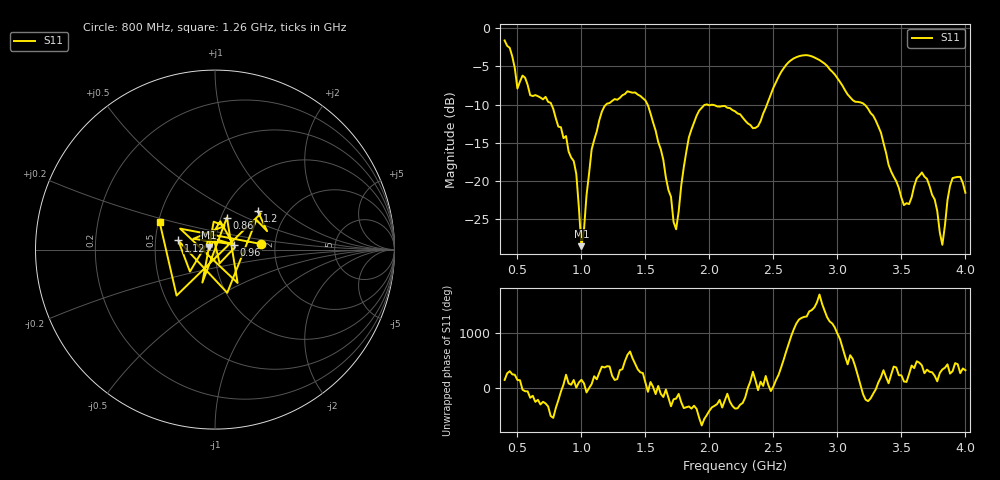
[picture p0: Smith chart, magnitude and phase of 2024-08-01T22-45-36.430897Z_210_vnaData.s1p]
!Created with skrf (http://scikit-rf.org).
# Hz S RI R 50.0
!freq ReS11 ImS11
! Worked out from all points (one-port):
!   181 points, 400 MHz to 4 GHz, reference 50 ohm
!   lowest |S11| = -28.6 dB at 1 GHz (marker M1), VSWR 1.08, Z = 46.7 + j1.36 ohm
!   |S11| at or under -10 dB: 1.517 GHz to 1.975 GHz (458.2 MHz wide, 26.2 % of centre); 1.983 GHz to 2.45 GHz (466.6 MHz wide, 21.1 % of centre); 3.211 GHz to end of sweep (the widest 3 of 4)
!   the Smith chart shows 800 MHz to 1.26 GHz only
!   S11 on the Smith chart (normalised r, x): 800 MHz: 1.68, +0.11; 860 MHz: 1.07, +0.40; 960 MHz: 1.24, +0.07; 1.12 GHz: 0.66, +0.07; 1.2 GHz: 1.43, +0.68; 1.26 GHz: 0.51, +0.17
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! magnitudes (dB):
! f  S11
! 400 MHz  -1.6
! 500 MHz  -7.9
! 540 MHz  -6.2
! 800 MHz  -11.8
! 860 MHz  -14.4
! 960 MHz  -19.1
! 1 GHz  -28.6
! 1.08 GHz  -15.9
! 1.12 GHz  -13.5
! 1.2 GHz  -9.9
! 1.26 GHz  -9.3
! 1.3 GHz  -9.1
! 1.52 GHz  -10.1
! 1.72 GHz  -25.4
! 1.76 GHz  -24.0
! 1.84 GHz  -14.3
! 1.92 GHz  -10.8
! 2.2 GHz  -10.9
! 2.38 GHz  -12.8
! 2.66 GHz  -3.9
! 3.1 GHz  -9.0
! 3.28 GHz  -11.5
! 3.56 GHz  -23.0
! 3.66 GHz  -18.9
! 3.76 GHz  -22.4
! 3.82 GHz  -28.4
! 3.9 GHz  -19.6
! 4 GHz  -21.6
